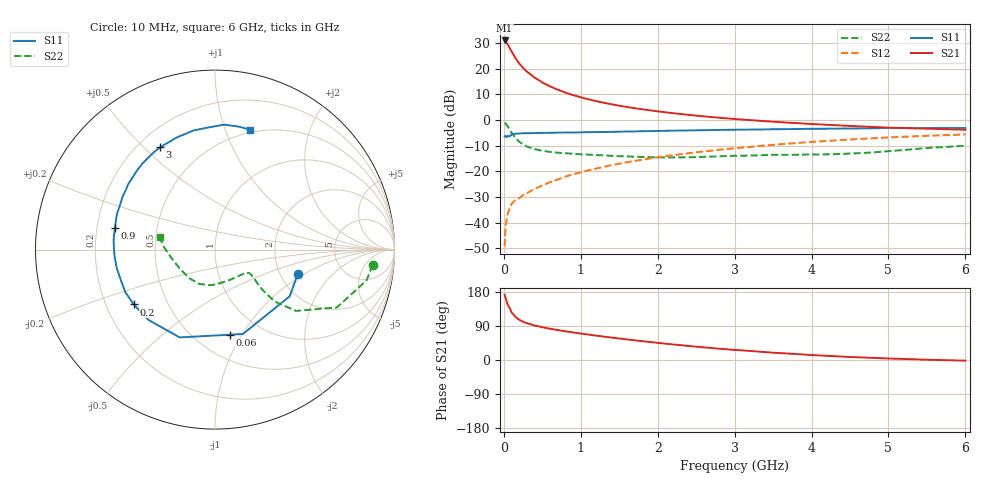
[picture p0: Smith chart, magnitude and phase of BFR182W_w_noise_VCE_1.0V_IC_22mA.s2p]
! Infineon Technologies  Discrete & RF Semiconductors
! BFR182W
! VCE =  1.0 V,  IC =  22 mA
! Common Emitter S-Parameters:  Jan 2017
# GHz  S  MA  R  50
!  f  S11  S21  S12  S22
! GHz  MAG  ANG  MAG  ANG  MAG  ANG  MAG  ANG
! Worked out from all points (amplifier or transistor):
!   77 points, 10 MHz to 6 GHz, reference 50 ohm
!   highest |S21| = 31.0 dB at 10 MHz (marker M1)
!   |S21| within 3 dB of that: start of sweep to 76.68 MHz
!   unconditionally stable (mu >= 1): 349.1 MHz to 3.75 GHz; 5.13 GHz to end of sweep
!   at 130 MHz: K = 0.58, MSG = 28.5 dB, |S12| = -31.8 dB
!   at 2.2 GHz: K = 1.11, MAG = 6.1 dB, |S12| = -13.7 dB
!   at 6 GHz: K = 1.02, MAG = 0.0 dB, |S12| = -5.6 dB
!   lowest NFmin = 1.47 dB at 450 MHz
!   S11 on the Smith chart (normalised r, x): 10 MHz: 2.49, -0.88; 60 MHz: 0.72, -0.89; 200 MHz: 0.32, -0.28; 900 MHz: 0.28, +0.10; 3 GHz: 0.29, +0.56; 6 GHz: 0.47, +1.22
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0.01  0.481 -16.4  35.3 172.3  0.0035 76.4  0.8824 -5.5
0.02  0.4908 -32.0  34.84 165.2  0.0071 79.1  0.8621 -11.4
0.05  0.4953 -71.7  29.79 145.9  0.0148 66.3  0.7526 -25.3
0.06  0.4816 -79.8  27.91 142.8  0.0164 63.5  0.7133 -27.2
0.1  0.5274 -111.9  21.55 125.3  0.0232 56.5  0.5662 -37.1
0.15  0.5393 -133.3  16.05 113.6  0.0275 52.8  0.447 -40.8
0.2  0.5463 -146.0  12.59 106.3  0.0303 52.9  0.3772 -40.8
0.25  0.5532 -154.6  10.35 100.8  0.0344 54.8  0.3337 -39.9
0.3  0.5514 -160.8  8.722 97.0  0.0376 56.2  0.3039 -38.6
0.4  0.5571 -169.6  6.67 90.9  0.0455 60.3  0.2703 -36.3
0.5  0.5606 -175.9  5.374 86.4  0.0533 62.5  0.2514 -35.1
0.6  0.5633 179.0  4.517 82.5  0.0616 64.4  0.2392 -34.6
0.7  0.567 175.0  3.888 79.1  0.0693 65.8  0.2311 -34.4
0.9  0.5702 167.6  3.047 72.7  0.0876 67.5  0.2197 -36.2
1.1  0.5791 161.4  2.528 67.1  0.1049 68.1  0.2119 -38.9
1.5  0.5925 150.7  1.896 56.8  0.1408 67.2  0.1977 -47.7
2.1  0.615 136.3  1.413 43.2  0.1971 63.6  0.1869 -67.3
3  0.6469 118.2  1.045 26.6  0.2818 55.8  0.2011 -99.5
3.1  0.6481 116.3  1.02 25.3  0.291 54.7  0.2018 -102.7
4.1  0.6754 98.6  0.821 12.1  0.3828 44.3  0.2136 -135.3
5.1  0.6973 84.5  0.703 3.4  0.4639 32.9  0.2535 -172.2
6  0.6965 73.8  0.646 -1.8  0.5238 22.8  0.3161 167.5
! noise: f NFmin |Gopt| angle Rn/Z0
0.45  1.47  0.13  -172  0.15
0.9  1.55  0.14  -167  0.15
1.9  2.06  0.29  -141  0.17
2.4  2.34  0.31  -127  0.27
